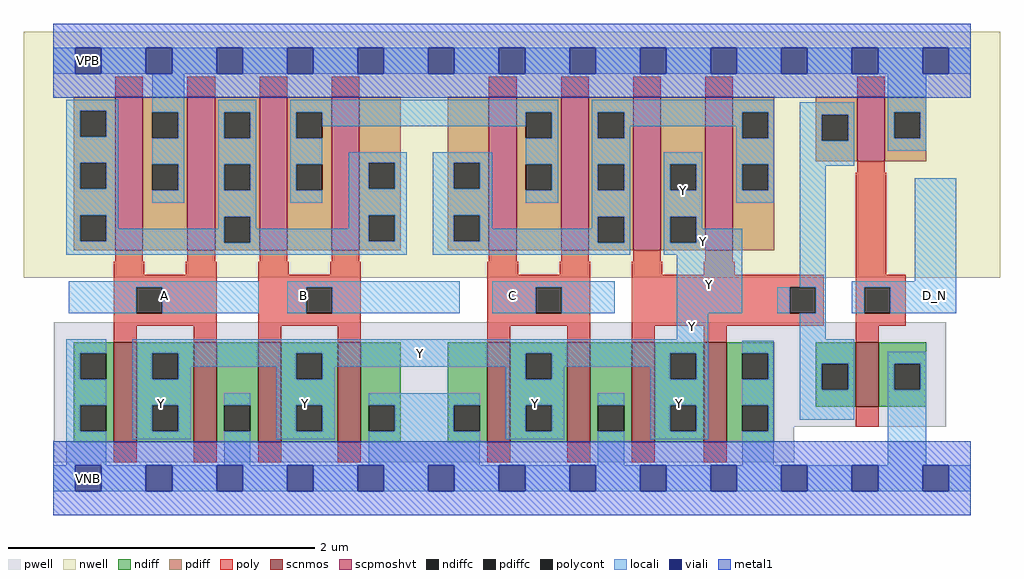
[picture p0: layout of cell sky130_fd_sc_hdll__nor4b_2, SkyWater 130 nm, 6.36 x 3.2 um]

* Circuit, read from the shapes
.subckt sky130_fd_sc_hdll__nor4b_2 A B C D_N VGND VNB VPB VPWR Y
XM1 Y A VGND VNB sky130_fd_pr__nfet_01v8 w=0.65 l=0.15 m=2
XM2 Y B VGND VNB sky130_fd_pr__nfet_01v8 w=0.65 l=0.15 m=2
XM3 Y C VGND VNB sky130_fd_pr__nfet_01v8 w=0.65 l=0.15 m=2
XM4 Y n1 VGND VNB sky130_fd_pr__nfet_01v8 w=0.65 l=0.15 m=2
XM5 VGND D_N n1 VNB sky130_fd_pr__nfet_01v8 w=0.42 l=0.15
XM6 VPWR A n2 VPB sky130_fd_pr__pfet_01v8_hvt w=1 l=0.18 m=2
XM7 n3 B n2 VPB sky130_fd_pr__pfet_01v8_hvt w=1 l=0.18 m=2
XM8 n3 C n4 VPB sky130_fd_pr__pfet_01v8_hvt w=1 l=0.18 m=2
XM9 Y n1 n4 VPB sky130_fd_pr__pfet_01v8_hvt w=1 l=0.18 m=2
XM10 VPWR D_N n1 VPB sky130_fd_pr__pfet_01v8_hvt w=0.42 l=0.18
.ends

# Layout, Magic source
magic
tech sky130A
magscale 1 2
<< nwell >>
rect -38 261 1234 582
<< pwell >>
rect 1 67 1164 203
rect 1 21 966 67
rect 29 -17 63 21
<< scnmos >>
rect 79 47 109 177
rect 183 47 213 177
rect 267 47 297 177
rect 371 47 401 177
rect 566 47 596 177
rect 670 47 700 177
rect 754 47 784 177
rect 848 47 878 177
rect 1046 93 1076 177
<< scpmoshvt >>
rect 81 297 117 497
rect 175 297 211 497
rect 269 297 305 497
rect 363 297 399 497
rect 568 297 604 497
rect 662 297 698 497
rect 756 297 792 497
rect 850 297 886 497
rect 1048 413 1084 497
<< ndiff >>
rect 27 163 79 177
rect 27 129 35 163
rect 69 129 79 163
rect 27 95 79 129
rect 27 61 35 95
rect 69 61 79 95
rect 27 47 79 61
rect 109 163 183 177
rect 109 129 129 163
rect 163 129 183 163
rect 109 95 183 129
rect 109 61 129 95
rect 163 61 183 95
rect 109 47 183 61
rect 213 95 267 177
rect 213 61 223 95
rect 257 61 267 95
rect 213 47 267 61
rect 297 163 371 177
rect 297 129 317 163
rect 351 129 371 163
rect 297 95 371 129
rect 297 61 317 95
rect 351 61 371 95
rect 297 47 371 61
rect 401 95 453 177
rect 401 61 411 95
rect 445 61 453 95
rect 401 47 453 61
rect 514 95 566 177
rect 514 61 522 95
rect 556 61 566 95
rect 514 47 566 61
rect 596 163 670 177
rect 596 129 616 163
rect 650 129 670 163
rect 596 95 670 129
rect 596 61 616 95
rect 650 61 670 95
rect 596 47 670 61
rect 700 95 754 177
rect 700 61 710 95
rect 744 61 754 95
rect 700 47 754 61
rect 784 163 848 177
rect 784 129 804 163
rect 838 129 848 163
rect 784 95 848 129
rect 784 61 804 95
rect 838 61 848 95
rect 784 47 848 61
rect 878 163 940 177
rect 878 129 898 163
rect 932 129 940 163
rect 878 95 940 129
rect 878 61 898 95
rect 932 61 940 95
rect 994 149 1046 177
rect 994 115 1002 149
rect 1036 115 1046 149
rect 994 93 1046 115
rect 1076 149 1138 177
rect 1076 115 1096 149
rect 1130 115 1138 149
rect 1076 93 1138 115
rect 878 47 940 61
<< pdiff >>
rect 27 479 81 497
rect 27 445 35 479
rect 69 445 81 479
rect 27 411 81 445
rect 27 377 35 411
rect 69 377 81 411
rect 27 343 81 377
rect 27 309 35 343
rect 69 309 81 343
rect 27 297 81 309
rect 117 477 175 497
rect 117 443 129 477
rect 163 443 175 477
rect 117 409 175 443
rect 117 375 129 409
rect 163 375 175 409
rect 117 297 175 375
rect 211 477 269 497
rect 211 443 223 477
rect 257 443 269 477
rect 211 409 269 443
rect 211 375 223 409
rect 257 375 269 409
rect 211 341 269 375
rect 211 307 223 341
rect 257 307 269 341
rect 211 297 269 307
rect 305 477 363 497
rect 305 443 317 477
rect 351 443 363 477
rect 305 409 363 443
rect 305 375 317 409
rect 351 375 363 409
rect 305 297 363 375
rect 399 411 453 497
rect 399 377 411 411
rect 445 377 453 411
rect 399 343 453 377
rect 399 309 411 343
rect 445 309 453 343
rect 399 297 453 309
rect 514 411 568 497
rect 514 377 522 411
rect 556 377 568 411
rect 514 343 568 377
rect 514 309 522 343
rect 556 309 568 343
rect 514 297 568 309
rect 604 477 662 497
rect 604 443 616 477
rect 650 443 662 477
rect 604 409 662 443
rect 604 375 616 409
rect 650 375 662 409
rect 604 297 662 375
rect 698 477 756 497
rect 698 443 710 477
rect 744 443 756 477
rect 698 409 756 443
rect 698 375 710 409
rect 744 375 756 409
rect 698 341 756 375
rect 698 307 710 341
rect 744 307 756 341
rect 698 297 756 307
rect 792 409 850 497
rect 792 375 804 409
rect 838 375 850 409
rect 792 341 850 375
rect 792 307 804 341
rect 838 307 850 341
rect 792 297 850 307
rect 886 477 940 497
rect 886 443 898 477
rect 932 443 940 477
rect 886 409 940 443
rect 994 474 1048 497
rect 994 440 1002 474
rect 1036 440 1048 474
rect 994 413 1048 440
rect 1084 477 1138 497
rect 1084 443 1096 477
rect 1130 443 1138 477
rect 1084 413 1138 443
rect 886 375 898 409
rect 932 375 940 409
rect 886 297 940 375
<< ndiffc >>
rect 35 129 69 163
rect 35 61 69 95
rect 129 129 163 163
rect 129 61 163 95
rect 223 61 257 95
rect 317 129 351 163
rect 317 61 351 95
rect 411 61 445 95
rect 522 61 556 95
rect 616 129 650 163
rect 616 61 650 95
rect 710 61 744 95
rect 804 129 838 163
rect 804 61 838 95
rect 898 129 932 163
rect 898 61 932 95
rect 1002 115 1036 149
rect 1096 115 1130 149
<< pdiffc >>
rect 35 445 69 479
rect 35 377 69 411
rect 35 309 69 343
rect 129 443 163 477
rect 129 375 163 409
rect 223 443 257 477
rect 223 375 257 409
rect 223 307 257 341
rect 317 443 351 477
rect 317 375 351 409
rect 411 377 445 411
rect 411 309 445 343
rect 522 377 556 411
rect 522 309 556 343
rect 616 443 650 477
rect 616 375 650 409
rect 710 443 744 477
rect 710 375 744 409
rect 710 307 744 341
rect 804 375 838 409
rect 804 307 838 341
rect 898 443 932 477
rect 1002 440 1036 474
rect 1096 443 1130 477
rect 898 375 932 409
<< poly >>
rect 81 497 117 523
rect 175 497 211 523
rect 269 497 305 523
rect 363 497 399 523
rect 568 497 604 523
rect 662 497 698 523
rect 756 497 792 523
rect 850 497 886 523
rect 1048 497 1084 523
rect 1048 398 1084 413
rect 81 282 117 297
rect 175 282 211 297
rect 269 282 305 297
rect 363 282 399 297
rect 568 282 604 297
rect 662 282 698 297
rect 756 282 792 297
rect 850 282 886 297
rect 79 265 119 282
rect 173 265 213 282
rect 79 249 213 265
rect 79 215 108 249
rect 142 215 213 249
rect 79 199 213 215
rect 79 177 109 199
rect 183 177 213 199
rect 267 265 307 282
rect 361 265 401 282
rect 267 249 401 265
rect 267 215 330 249
rect 364 215 401 249
rect 267 199 401 215
rect 267 177 297 199
rect 371 177 401 199
rect 566 265 606 282
rect 660 265 700 282
rect 566 249 700 265
rect 566 215 629 249
rect 663 215 700 249
rect 566 199 700 215
rect 566 177 596 199
rect 670 177 700 199
rect 754 265 794 282
rect 848 265 888 282
rect 1046 265 1086 398
rect 754 249 1004 265
rect 754 215 960 249
rect 994 215 1004 249
rect 754 199 1004 215
rect 1046 249 1111 265
rect 1046 215 1057 249
rect 1091 215 1111 249
rect 1046 199 1111 215
rect 754 177 784 199
rect 848 177 878 199
rect 1046 177 1076 199
rect 1046 67 1076 93
rect 79 21 109 47
rect 183 21 213 47
rect 267 21 297 47
rect 371 21 401 47
rect 566 21 596 47
rect 670 21 700 47
rect 754 21 784 47
rect 848 21 878 47
<< polycont >>
rect 108 215 142 249
rect 330 215 364 249
rect 629 215 663 249
rect 960 215 994 249
rect 1057 215 1091 249
<< locali >>
rect 0 527 29 561
rect 63 527 121 561
rect 155 527 213 561
rect 247 527 305 561
rect 339 527 397 561
rect 431 527 489 561
rect 523 527 581 561
rect 615 527 673 561
rect 707 527 765 561
rect 799 527 857 561
rect 891 527 949 561
rect 983 527 1041 561
rect 1075 527 1133 561
rect 1167 527 1196 561
rect 17 479 85 493
rect 17 445 35 479
rect 69 445 85 479
rect 17 411 85 445
rect 17 377 35 411
rect 69 377 85 411
rect 17 343 85 377
rect 129 477 171 527
rect 163 443 171 477
rect 129 409 171 443
rect 163 375 171 409
rect 129 359 171 375
rect 215 477 265 493
rect 215 443 223 477
rect 257 443 265 477
rect 215 409 265 443
rect 215 375 223 409
rect 257 375 265 409
rect 17 309 35 343
rect 69 325 85 343
rect 215 341 265 375
rect 309 477 658 493
rect 309 443 317 477
rect 351 459 616 477
rect 309 409 351 443
rect 650 443 658 477
rect 309 375 317 409
rect 309 359 351 375
rect 385 411 461 425
rect 385 377 411 411
rect 445 377 461 411
rect 215 325 223 341
rect 69 309 223 325
rect 17 307 223 309
rect 257 325 265 341
rect 385 343 461 377
rect 385 325 411 343
rect 257 309 411 325
rect 445 309 461 343
rect 257 307 461 309
rect 17 291 461 307
rect 495 411 572 425
rect 495 377 522 411
rect 556 377 572 411
rect 495 343 572 377
rect 616 409 658 443
rect 650 375 658 409
rect 616 359 658 375
rect 702 477 939 493
rect 702 443 710 477
rect 744 459 898 477
rect 744 443 752 459
rect 702 409 752 443
rect 890 443 898 459
rect 932 443 939 477
rect 702 375 710 409
rect 744 375 752 409
rect 495 309 522 343
rect 556 325 572 343
rect 702 341 752 375
rect 702 325 710 341
rect 556 309 710 325
rect 495 307 710 309
rect 744 307 752 341
rect 495 291 752 307
rect 796 409 846 425
rect 796 375 804 409
rect 838 375 846 409
rect 796 341 846 375
rect 890 409 939 443
rect 890 375 898 409
rect 932 375 939 409
rect 890 359 939 375
rect 973 474 1044 490
rect 973 440 1002 474
rect 1036 440 1044 474
rect 973 407 1044 440
rect 1088 477 1138 527
rect 1088 443 1096 477
rect 1130 443 1138 477
rect 1088 427 1138 443
rect 796 307 804 341
rect 838 325 846 341
rect 838 307 898 325
rect 796 291 898 307
rect 20 249 268 257
rect 20 215 108 249
rect 142 215 268 249
rect 305 249 530 257
rect 305 215 330 249
rect 364 215 530 249
rect 572 249 732 257
rect 572 215 629 249
rect 663 215 732 249
rect 813 215 898 291
rect 973 249 1007 407
rect 1123 257 1177 391
rect 944 215 960 249
rect 994 215 1007 249
rect 1041 249 1177 257
rect 1041 215 1057 249
rect 1091 215 1177 249
rect 813 181 854 215
rect 17 163 69 181
rect 17 129 35 163
rect 17 95 69 129
rect 17 61 35 95
rect 17 17 69 61
rect 103 163 854 181
rect 973 181 1007 215
rect 103 129 129 163
rect 163 145 317 163
rect 163 129 179 145
rect 103 95 179 129
rect 291 129 317 145
rect 351 145 616 163
rect 351 129 367 145
rect 103 61 129 95
rect 163 61 179 95
rect 103 51 179 61
rect 223 95 257 111
rect 223 17 257 61
rect 291 95 367 129
rect 590 129 616 145
rect 650 145 804 163
rect 650 129 666 145
rect 291 61 317 95
rect 351 61 367 95
rect 291 51 367 61
rect 411 95 556 111
rect 445 61 522 95
rect 411 17 556 61
rect 590 95 666 129
rect 778 129 804 145
rect 838 129 854 163
rect 590 61 616 95
rect 650 61 666 95
rect 590 51 666 61
rect 710 95 744 111
rect 710 17 744 61
rect 778 95 854 129
rect 778 61 804 95
rect 838 61 854 95
rect 778 51 854 61
rect 898 163 939 179
rect 932 129 939 163
rect 898 95 939 129
rect 932 61 939 95
rect 973 149 1044 181
rect 973 115 1002 149
rect 1036 115 1044 149
rect 973 76 1044 115
rect 1088 149 1138 165
rect 1088 115 1096 149
rect 1130 115 1138 149
rect 898 17 939 61
rect 1088 17 1138 115
rect 0 -17 29 17
rect 63 -17 121 17
rect 155 -17 213 17
rect 247 -17 305 17
rect 339 -17 397 17
rect 431 -17 489 17
rect 523 -17 581 17
rect 615 -17 673 17
rect 707 -17 765 17
rect 799 -17 857 17
rect 891 -17 949 17
rect 983 -17 1041 17
rect 1075 -17 1133 17
rect 1167 -17 1196 17
<< viali >>
rect 29 527 63 561
rect 121 527 155 561
rect 213 527 247 561
rect 305 527 339 561
rect 397 527 431 561
rect 489 527 523 561
rect 581 527 615 561
rect 673 527 707 561
rect 765 527 799 561
rect 857 527 891 561
rect 949 527 983 561
rect 1041 527 1075 561
rect 1133 527 1167 561
rect 29 -17 63 17
rect 121 -17 155 17
rect 213 -17 247 17
rect 305 -17 339 17
rect 397 -17 431 17
rect 489 -17 523 17
rect 581 -17 615 17
rect 673 -17 707 17
rect 765 -17 799 17
rect 857 -17 891 17
rect 949 -17 983 17
rect 1041 -17 1075 17
rect 1133 -17 1167 17
<< metal1 >>
rect 0 561 1196 592
rect 0 527 29 561
rect 63 527 121 561
rect 155 527 213 561
rect 247 527 305 561
rect 339 527 397 561
rect 431 527 489 561
rect 523 527 581 561
rect 615 527 673 561
rect 707 527 765 561
rect 799 527 857 561
rect 891 527 949 561
rect 983 527 1041 561
rect 1075 527 1133 561
rect 1167 527 1196 561
rect 0 496 1196 527
rect 0 17 1196 48
rect 0 -17 29 17
rect 63 -17 121 17
rect 155 -17 213 17
rect 247 -17 305 17
rect 339 -17 397 17
rect 431 -17 489 17
rect 523 -17 581 17
rect 615 -17 673 17
rect 707 -17 765 17
rect 799 -17 857 17
rect 891 -17 949 17
rect 983 -17 1041 17
rect 1075 -17 1133 17
rect 1167 -17 1196 17
rect 0 -48 1196 -17
<< labels >>
flabel locali s 1131 221 1165 255 0 FreeSans 400 0 0 0 D_N
port 4 nsew signal input
flabel locali s 813 215 898 291 0 FreeSans 400 0 0 0 Y
port 9 nsew signal output
flabel locali s 582 221 616 255 0 FreeSans 400 0 0 0 C
port 3 nsew signal input
flabel locali s 128 221 162 255 0 FreeSans 400 0 0 0 A
port 1 nsew signal input
flabel locali s 309 221 343 255 0 FreeSans 400 0 0 0 B
port 2 nsew signal input
flabel pwell s 29 -17 63 17 0 FreeSans 200 0 0 0 VNB
port 6 nsew ground bidirectional
flabel nwell s 29 527 63 561 0 FreeSans 200 0 0 0 VPB
port 7 nsew power bidirectional
flabel metal1 s 29 -17 63 17 0 FreeSans 200 0 0 0 VGND
port 5 nsew ground bidirectional
flabel metal1 s 29 527 63 561 0 FreeSans 200 0 0 0 VPWR
port 8 nsew power bidirectional
rlabel comment s 0 0 0 0 4 nor4b_2
rlabel locali s 813 181 854 215 1 Y
port 9 nsew signal output
rlabel locali s 796 325 846 425 1 Y
port 9 nsew signal output
rlabel locali s 796 291 898 325 1 Y
port 9 nsew signal output
rlabel locali s 778 51 854 145 1 Y
port 9 nsew signal output
rlabel locali s 590 51 666 145 1 Y
port 9 nsew signal output
rlabel locali s 291 51 367 145 1 Y
port 9 nsew signal output
rlabel locali s 103 145 854 181 1 Y
port 9 nsew signal output
rlabel locali s 103 51 179 145 1 Y
port 9 nsew signal output
<< properties >>
string LEFsite unithd
string LEFclass CORE
string FIXED_BBOX 0 0 1196 544
string GDS_FILE $PDKPATH/libs.ref/sky130_fd_sc_hdll/gds/sky130_fd_sc_hdll.gds
string LEFsymmetry X Y R90
string GDS_END 732638
string GDS_START 722920
string LEFproperties maskLayoutSubType "abstract" prCellType "standard" originalViewName "layout"
<< end >>
